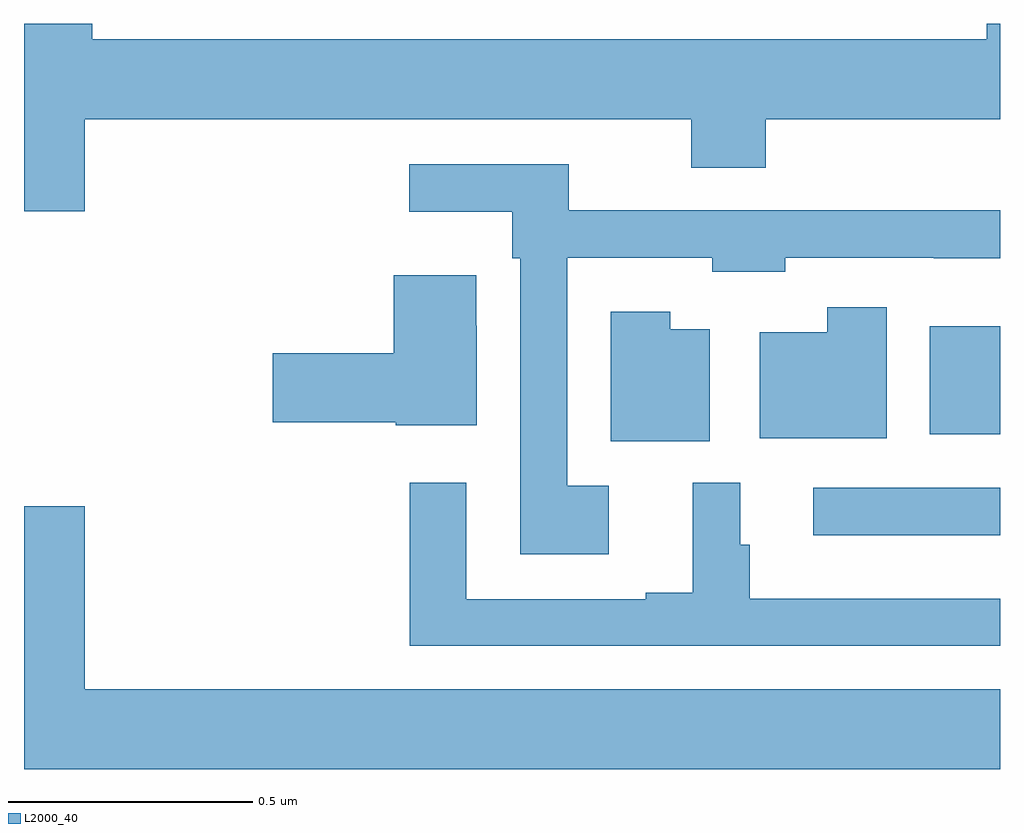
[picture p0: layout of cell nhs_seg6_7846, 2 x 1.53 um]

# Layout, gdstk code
import gdstk
lib = gdstk.Library(unit=1e-6, precision=1e-09)
def R(c, l, rs):  # rectangles x0, y0, x1, y1
    for r in rs: c.add(gdstk.rectangle(r[:2], r[2:], *l))
def P(c, l, *ps):  # polygons
    for p in ps: c.add(gdstk.Polygon(p, *l))
L2000_40 = (2000, 40)

nhs_seg6_7846 = lib.new_cell('nhs_seg6_7846')
R(nhs_seg6_7846, L2000_40, [(214.617,978.452,215,978.549), (214.856,978.659,215,978.88)])
P(nhs_seg6_7846, L2000_40, [(213.124,979.304),(214.367,979.304),(214.367,979.205),(214.52,979.205),(214.52,979.304),(215,979.304),(215,979.5),(214.973,979.5),(214.973,979.468),(213.14,979.468),(213.14,979.5),(213,979.5),(213,979.116),(213.124,979.116)],
  [(214.198,978.553),(214.113,978.553),(214.113,979.02),(214.41,979.02),(214.41,978.992),(214.56,978.992),(214.56,979.02),(214.864,979.02),(214.864,979.019),(215,979.019),(215,979.118),(214.116,979.118),(214.116,979.212),(213.789,979.212),(213.789,979.115),(214.001,979.115),(214.001,979.019),(214.017,979.019),(214.017,978.413),(214.198,978.413)],
  [(213.928,978.881),(213.927,978.881),(213.927,978.984),(213.758,978.984),(213.758,978.825),(213.51,978.825),(213.51,978.683),(213.762,978.683),(213.762,978.677),(213.928,978.677)],
  [(214.768,978.919),(214.646,978.919),(214.646,978.868),(214.508,978.868),(214.508,978.65),(214.768,978.65)],
  [(214.405,978.874),(214.324,978.874),(214.324,978.91),(214.202,978.91),(214.202,978.644),(214.405,978.644)],
  [(215,978.322),(214.487,978.322),(214.487,978.432),(214.468,978.432),(214.468,978.559),(214.37,978.559),(214.37,978.334),(214.274,978.334),(214.274,978.321),(213.906,978.321),(213.906,978.559),(213.79,978.559),(213.79,978.225),(215,978.225)],
  [(215,978.136),(213.124,978.136),(213.124,978.511),(213,978.511),(213,977.972),(215,977.972)])

lib.write_gds('nhs_seg6_7846.gds')
